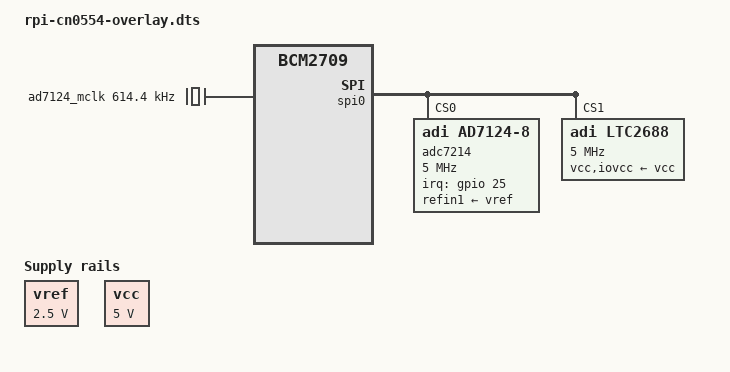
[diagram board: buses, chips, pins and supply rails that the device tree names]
// SPDX-License-Identifier: GPL-2.0
/*
 * Overlay for the CN0554 Mixed Signal Hat
 *
 * Copyright 2023 Analog Devices Inc.
 */

/dts-v1/;
/plugin/;

#include <dt-bindings/gpio/gpio.h>

/ {
	compatible = "brcm,bcm2835", "brcm,bcm2708", "brcm,bcm2709";
};

&{/} {
	vref: fixedregulator@0 {
		compatible = "regulator-fixed";
		regulator-name = "fixed-supply";
		regulator-min-microvolt = <2500000>;
		regulator-max-microvolt = <2500000>;
		regulator-boot-on;
	};
	vcc: fixedregulator@1 {
		compatible = "regulator-fixed";
		regulator-name = "vcc-supply";
		regulator-min-microvolt = <5000000>;
		regulator-max-microvolt = <5000000>;
	};
};

&{/clocks} {
	ad7124_mclk: clock@0 {
		#clock-cells = <0>;
		compatible = "fixed-clock";
		clock-frequency = <614400>;
	};

	ltc2688_tgp1: clock@1 {
		compatible = "fixed-clock";
		#clock-cells = <0>;
		clock-frequency = <262144>;
		clock-output-names = "TGP1";
	};

	ltc2688_tgp2: clock@2 {
		compatible = "fixed-clock";
		#clock-cells = <0>;
		clock-frequency = <131072>;
		clock-output-names = "TGP2";
	};
};

&spidev0 {
	status = "disabled";
};

&spidev1 {
	status = "disabled";
};

&spi0 {
	#address-cells = <1>;
	#size-cells = <0>;
	status = "okay";

	adc7214: ad7124@0 {
		compatible = "adi,ad7124-8";
		reg = <0>;
		spi-max-frequency = <5000000>;

		#address-cells = <1>;
		#size-cells = <0>;

		clocks = <&ad7124_mclk>;
		clock-names = "mclk";

		interrupts = <25 2>;
		interrupt-parent = <&gpio>;

		refin1-supply = <&vref>;

		channel@0 {
			reg = <0>;
			diff-channels = <0 1>;
			adi,buffered-positive;
			adi,buffered-negative;
		};

		channel@1 {
			reg = <1>;
			diff-channels = <2 3>;
			adi,buffered-positive;
			adi,buffered-negative;
		};

		channel@2 {
			reg = <2>;
			diff-channels = <4 5>;
			adi,buffered-positive;
			adi,buffered-negative;
		};

		channel@3 {
			reg = <3>;
			diff-channels = <6 7>;
			adi,buffered-positive;
			adi,buffered-negative;
		};

		channel@4 {
			reg = <4>;
			diff-channels = <8 9>;
			adi,buffered-positive;
			adi,buffered-negative;
		};

		channel@5 {
			reg = <5>;
			diff-channels = <10 11>;
			adi,buffered-positive;
			adi,buffered-negative;
		};

		channel@6 {
			reg = <6>;
			diff-channels = <12 13>;
			adi,buffered-positive;
			adi,buffered-negative;
		};

		channel@7 {
			reg = <7>;
			diff-channels = <14 15>;
			adi,buffered-positive;
			adi,buffered-negative;
		};
	};

	ltc2688: ltc2688@1 {
		compatible = "adi,ltc2688";
		reg = <1>;
		spi-max-frequency = <5000000>;

		#address-cells = <1>;
		#size-cells = <0>;

		vcc-supply = <&vcc>;
		iovcc-supply = <&vcc>;

		channel@0 {
			reg = <0>;
			adi,output-range-microvolt = <(-15000000) 15000000>;
		};

		channel@1 {
			reg = <1>;
			adi,output-range-microvolt = <(-15000000) 15000000>;
		};

		channel@2 {
			reg = <2>;
			adi,output-range-microvolt = <(-15000000) 15000000>;
		};

		channel@3 {
			reg = <3>;
			adi,output-range-microvolt = <(-15000000) 15000000>;
		};

		channel@4 {
			reg = <4>;
			adi,output-range-microvolt = <(-15000000) 15000000>;
		};

		channel@5 {
			reg = <5>;
			adi,output-range-microvolt = <(-15000000) 15000000>;
		};

		channel@6 {
			reg = <6>;
			adi,output-range-microvolt = <(-15000000) 15000000>;
		};

		channel@7 {
			reg = <7>;
			adi,output-range-microvolt = <(-15000000) 15000000>;
		};

		channel@8 {
			reg = <8>;
			adi,output-range-microvolt = <(-15000000) 15000000>;
		};

		channel@9 {
			reg = <9>;
			adi,output-range-microvolt = <(-15000000) 15000000>;
		};

		channel@10 {
			reg = <10>;
			adi,output-range-microvolt = <(-15000000) 15000000>;
		};

		channel@11 {
			reg = <11>;
			adi,output-range-microvolt = <(-15000000) 15000000>;
		};

		channel@12 {
			reg = <12>;
			adi,output-range-microvolt = <(-15000000) 15000000>;
		};

		channel@13 {
			reg = <13>;
			adi,output-range-microvolt = <(-15000000) 15000000>;
		};

		channel@14 {
			reg = <14>;
			adi,output-range-microvolt = <(-15000000) 15000000>;
		};

		channel@15 {
			reg = <15>;
			adi,output-range-microvolt = <(-15000000) 15000000>;
		};
	};
};
